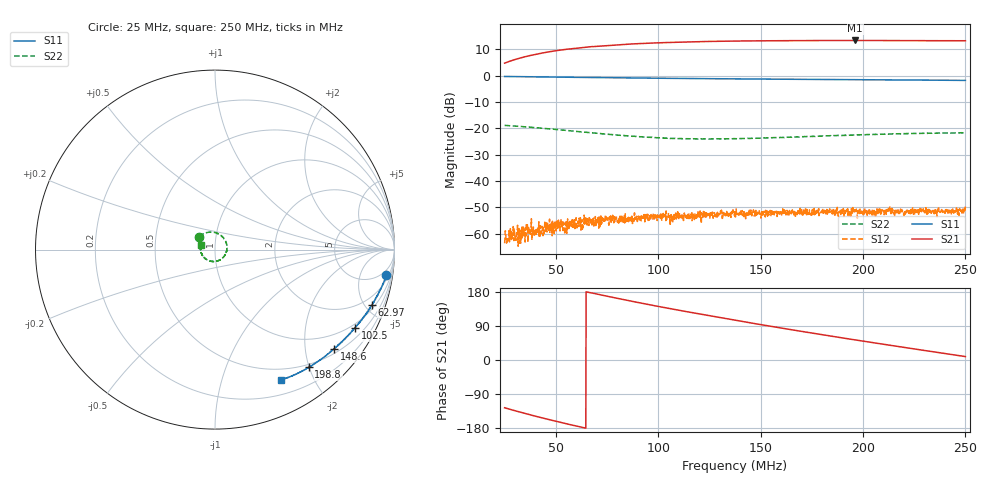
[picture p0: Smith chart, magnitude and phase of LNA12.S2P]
!Agilent Technologies,E5071C,MY46214392,A.11.36
!Date: Thu Apr 30 16:36:45 2026
!Data & Calibration Information:
!Freq	S11:SOLT1(OFF)	S21:NONE(--)	S12:NONE(--)	S22:NONE(--)
!PortZ  Port1:50+j0  Port2:50+j0
!Above PortZ is port z conversion or system Z0 setting when saving the data.
!When reading, reference impedance value at option line is always used.
# Hz S RI R 50
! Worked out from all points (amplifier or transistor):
!   1601 points, 25 MHz to 250 MHz, reference 50 ohm
!   highest |S21| = 13.4 dB at 196.1 MHz (marker M1)
!   |S21| within 3 dB of that: 59.01 MHz to end of sweep
!   unconditionally stable (mu >= 1): start of sweep to end of sweep
!   at 62.41 MHz: K = 13.98, MAG = 19.2 dB, |S12| = -56.7 dB
!   at 137.5 MHz: K = 12.71, MAG = 19.3 dB, |S12| = -53.5 dB
!   at 250 MHz: K = 11.20, MAG = 18.0 dB, |S12| = -49.7 dB
!   S11 on the Smith chart (normalised r, x): 25 MHz: 3, -13; 62.97 MHz: 1.28, -5.61; 102.5 MHz: 0.85, -3.66; 148.6 MHz: 0.60, -2.63; 198.8 MHz: 0.45, -1.99; 250 MHz: 0.36, -1.56
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2.5e7  0.9555 -0.1427  -1.017 -1.401  8.86e-05 0.000652  -0.0883 0.0717
2.879688e7  0.9484 -0.1612  -1.306 -1.453  0.000356 0.000987  -0.0756 0.0821
3.34375e7  0.9397 -0.1835  -1.667 -1.452  0.000557 0.00124  -0.0595 0.0902
4.229688e7  0.9215 -0.2226  -2.319 -1.268  0.000655 0.00053  -0.0277 0.0973
5.129688e7  0.9021 -0.2604  -2.898 -0.8674  0.00146 0.00107  0.00143 0.0947
6.254688e7  0.8764 -0.3046  -3.412 -0.1588  0.00163 0.00042  0.0315 0.0792
6.296875e7  0.8756 -0.3063  -3.426 -0.1292  0.00115 0.000379  0.0327 0.0793
7.267188e7  0.8535 -0.3412  -3.632 0.5714  0.00202 0.000192  0.0509 0.0602
8.153125e7  0.8311 -0.3715  -3.676 1.258  0.00184 0.000442  0.0613 0.0408
9.053125e7  0.8102 -0.4004  -3.565 1.947  0.00196 -7.61e-05  0.0666 0.0206
1.000938e8  0.7853 -0.4288  -3.284 2.625  0.00202 -0.000373  0.0663 -0.000905
1.024844e8  0.7799 -0.4359  -3.194 2.783  0.00231 -0.000742  0.0654 -0.00606
1.2175e8  0.7311 -0.4894  -2.218 3.849  0.0018 -0.000961  0.0489 -0.0394
1.375e8  0.6913 -0.5282  -1.175 4.388  0.00159 -0.00138  0.0271 -0.0575
1.486094e8  0.6628 -0.554  -0.3788 4.572  0.0014 -0.00212  0.00903 -0.0644
1.618281e8  0.6277 -0.5824  0.578 4.582  0.000847 -0.00263  -0.0122 -0.0665
1.750469e8  0.5911 -0.6108  1.503 4.398  0.000909 -0.00249  -0.0329 -0.0624
1.961406e8  0.5307 -0.6515  2.804 3.728  9.15e-05 -0.00271  -0.0601 -0.045
1.988125e8  0.5229 -0.6554  2.946 3.615  5.22e-05 -0.0025  -0.0626 -0.0421
2.125938e8  0.4833 -0.6778  3.585 2.95  -0.000796 -0.00255  -0.0737 -0.0257
2.314375e8  0.4259 -0.7045  4.218 1.878  -0.00131 -0.00278  -0.08 0.000575
2.5e8  0.3662 -0.7269  4.548 0.7224  -0.00182 -0.00271  -0.0778 0.0266
